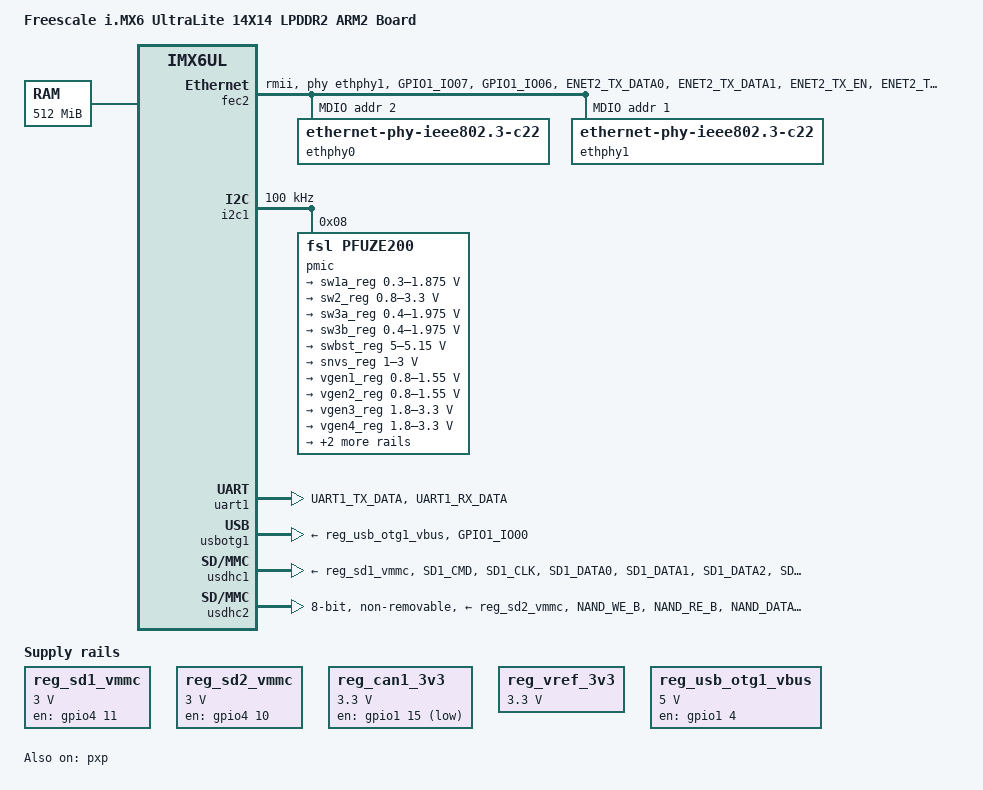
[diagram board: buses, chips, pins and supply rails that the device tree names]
/*
 * Copyright (C) 2015 Freescale Semiconductor, Inc.
 *
 * This program is free software; you can redistribute it and/or modify
 * it under the terms of the GNU General Public License version 2 as
 * published by the Free Software Foundation.
 */

/dts-v1/;

#include <dt-bindings/input/input.h>
#include "imx6ul.dtsi"

/ {
	model = "Freescale i.MX6 UltraLite 14X14 LPDDR2 ARM2 Board";
	compatible = "fsl,imx6ul-14x14-lpddr2-arm2", "fsl,imx6ul";

	chosen {
		stdout-path = &uart1;
	};

	memory {
		reg = <0x80000000 0x20000000>;
	};

	pxp_v4l2 {
		compatible = "fsl,imx6ul-pxp-v4l2", "fsl,imx6sx-pxp-v4l2", "fsl,imx6sl-pxp-v4l2";
		status = "okay";
	};

	regulators {
		compatible = "simple-bus";
		#address-cells = <1>;
		#size-cells = <0>;

		reg_sd1_vmmc: sd1_vmmc {
			compatible = "regulator-fixed";
			regulator-name = "SD1_SPWR";
			regulator-min-microvolt = <3000000>;
			regulator-max-microvolt = <3000000>;
			gpio = <&gpio4 11 GPIO_ACTIVE_HIGH>;
			enable-active-high;
		};

		reg_sd2_vmmc: sd2_vmmc {
			compatible = "regulator-fixed";
			regulator-name = "SD2_SPWR";
			regulator-min-microvolt = <3000000>;
			regulator-max-microvolt = <3000000>;
			gpio = <&gpio4 10 GPIO_ACTIVE_HIGH>;
			enable-active-high;
		};

		reg_can1_3v3: regulator@0 {
			compatible = "regulator-fixed";
			reg = <0>;
			regulator-name = "can1-3v3";
			regulator-min-microvolt = <3300000>;
			regulator-max-microvolt = <3300000>;
			gpio = <&gpio1 15 GPIO_ACTIVE_LOW>;
		};

		reg_vref_3v3: regulator@1 {
			compatible = "regulator-fixed";
			regulator-name = "vref-3v3";
			regulator-min-microvolt = <3300000>;
			regulator-max-microvolt = <3300000>;
		};

		reg_usb_otg1_vbus: regulator@2 {
			compatible = "regulator-fixed";
			reg = <2>;
			pinctrl-names = "default";
			pinctrl-0 = <&pinctrl_usb_otg1>;
			regulator-name = "usb_otg1_vbus";
			regulator-min-microvolt = <5000000>;
			regulator-max-microvolt = <5000000>;
			gpio = <&gpio1 4 GPIO_ACTIVE_HIGH>;
			enable-active-high;
		};
	};
};

&ecspi2 {
	fsl,spi-num-chipselects = <1>;
	cs-gpios = <&gpio4 22 0>;
	pinctrl-names = "default";
	pinctrl-0 = <&pinctrl_ecspi2_1 &pinctrl_ecspi2_cs_1>;
	status = "disabled";

	flash: n25q032@0 {
		#address-cells = <1>;
		#size-cells = <1>;
		compatible = "st,n25q032";
		spi-max-frequency = <20000000>;
		reg = <0>;
	};
};

&cpu0 {
	/*
	 * on i.MX6UL, no seperated VDD_ARM_IN and VDD_SOC_IN,
	 * to align with other platform and use the same cpufreq
	 * driver, still use the seperated OPP define for arm
	 * and soc.
	 */
	operating-points = <
		/* kHz	uV */
		528000	1175000
		396000	1175000
		198000	1175000
	>;
	fsl,soc-operating-points = <
		/* KHz	uV */
		528000	1175000
		396000	1175000
		198000	1175000
	>;
	arm-supply = <&sw1a_reg>;
	soc-supply = <&sw1a_reg>;
	fsl,arm-soc-shared = <1>;
};

&fec1 {
	pinctrl-names = "default";
	pinctrl-0 = <&pinctrl_enet1>;
	phy-mode = "mii";
	phy-handle = <&ethphy0>;
	status = "disabled";
};

&fec2 {
	pinctrl-names = "default";
	pinctrl-0 = <&pinctrl_enet2>;
	phy-mode = "rmii";
	phy-handle = <&ethphy1>;
	status = "okay";

	mdio {
		#address-cells = <1>;
		#size-cells = <0>;

		ethphy0: ethernet-phy@1 {
			compatible = "ethernet-phy-ieee802.3-c22";
			reg = <2>;
		};

		ethphy1: ethernet-phy@2 {
			compatible = "ethernet-phy-ieee802.3-c22";
			reg = <1>;
		};
	};
};

&flexcan1 {
	pinctrl-names = "default";
	pinctrl-0 = <&pinctrl_flexcan1>;
	xceiver-supply = <&reg_can1_3v3>;
	status = "disabled";
};

&gpc {
	fsl,cpu_pupscr_sw2iso = <0x2>;
	fsl,cpu_pupscr_sw = <0x1>;
	fsl,cpu_pdnscr_iso2sw = <0x1>;
	fsl,cpu_pdnscr_iso = <0x1>;
	fsl,wdog-reset = <1>; /* watchdog select of reset source */
	fsl,ldo-bypass = <1>; /* use ldo-bypass, u-boot will check it and configure */
};

&gpmi {
	pinctrl-names = "default";
	pinctrl-0 = <&pinctrl_gpmi_nand_1>;
	status = "disabled";
	nand-on-flash-bbt;
};

&i2c1 {
	clock-frequency = <100000>;
	pinctrl-names = "default";
	pinctrl-0 = <&pinctrl_i2c1>;
	status = "okay";

	pmic: pfuze100@08 {
		compatible = "fsl,pfuze200";
		reg = <0x08>;

		regulators {
			sw1a_reg: sw1ab {
				regulator-min-microvolt = <300000>;
				regulator-max-microvolt = <1875000>;
				regulator-always-on;
				regulator-ramp-delay = <6250>;
			};

			sw2_reg: sw2 {
				regulator-min-microvolt = <800000>;
				regulator-max-microvolt = <3300000>;
				regulator-always-on;
			};

			sw3a_reg: sw3a {
				regulator-min-microvolt = <400000>;
				regulator-max-microvolt = <1975000>;
				regulator-always-on;
			};

			sw3b_reg: sw3b {
				regulator-min-microvolt = <400000>;
				regulator-max-microvolt = <1975000>;
				regulator-always-on;
			};

			swbst_reg: swbst {
				regulator-min-microvolt = <5000000>;
				regulator-max-microvolt = <5150000>;
			};

			snvs_reg: vsnvs {
				regulator-min-microvolt = <1000000>;
				regulator-max-microvolt = <3000000>;
				regulator-always-on;
			};

			vref_reg: vrefddr {
				regulator-always-on;
			};

			vgen1_reg: vgen1 {
				regulator-min-microvolt = <800000>;
				regulator-max-microvolt = <1550000>;
			};

			vgen2_reg: vgen2 {
				regulator-min-microvolt = <800000>;
				regulator-max-microvolt = <1550000>;
			};

			vgen3_reg: vgen3 {
				regulator-min-microvolt = <1800000>;
				regulator-max-microvolt = <3300000>;
			};

			vgen4_reg: vgen4 {
				regulator-min-microvolt = <1800000>;
				regulator-max-microvolt = <3300000>;
				regulator-always-on;
			};

			vgen5_reg: vgen5 {
				regulator-min-microvolt = <1800000>;
				regulator-max-microvolt = <3300000>;
				regulator-always-on;
			};

			vgen6_reg: vgen6 {
				regulator-min-microvolt = <1800000>;
				regulator-max-microvolt = <3300000>;
				regulator-always-on;
			};
		};
	};
};

&pxp {
	status = "okay";
};

&qspi {
	pinctrl-names = "default";
	pinctrl-0 = <&pinctrl_qspi>;
	status = "disabled";
	fsl,qspi-has-second-chip = <1>;
	ddrsmp=<0>;

	flash0: n25q256a@0 {
		#address-cells = <1>;
		#size-cells = <1>;
		compatible = "micron,n25q256a";
		spi-max-frequency = <29000000>;
		spi-nor,ddr-quad-read-dummy = <6>;
		reg = <0>;
	};

	flash1: n25q256a@1 {
		#address-cells = <1>;
		#size-cells = <1>;
		compatible = "micron,n25q256a";
		spi-max-frequency = <29000000>;
		spi-nor,ddr-quad-read-dummy = <6>;
		reg = <1>;
	};

	flash2: n25q256a@2 {
		#address-cells = <1>;
		#size-cells = <1>;
		compatible = "micron,n25q256a";
		spi-max-frequency = <29000000>;
		spi-nor,ddr-quad-read-dummy = <6>;
		reg = <2>;
	};

	flash3: n25q256a@3 {
		#address-cells = <1>;
		#size-cells = <1>;
		compatible = "micron,n25q256a";
		spi-max-frequency = <29000000>;
		spi-nor,ddr-quad-read-dummy = <6>;
		reg = <3>;
	};
};

&uart1 {
	pinctrl-names = "default";
	pinctrl-0 = <&pinctrl_uart1>;
	status = "okay";
};

&usbotg1 {
	vbus-supply = <&reg_usb_otg1_vbus>;
	pinctrl-names = "default";
	pinctrl-0 = <&pinctrl_usb_otg1_id>;
	status = "okay";
};

&usdhc1 {
	pinctrl-names = "default", "state_100mhz", "state_200mhz";
	pinctrl-0 = <&pinctrl_usdhc1>;
	pinctrl-1 = <&pinctrl_usdhc1_100mhz>;
	pinctrl-2 = <&pinctrl_usdhc1_200mhz>;
	cd-gpios = <&gpio4 26 0>;
	wp-gpios = <&gpio4 25 0>;
	keep-power-in-suspend;
	enable-sdio-wakeup;
	vmmc-supply = <&reg_sd1_vmmc>;
	status = "okay";
};

&usdhc2 {
	pinctrl-names = "default", "state_100mhz", "state_200mhz";
	pinctrl-0 = <&pinctrl_usdhc2_8bit>;
	pinctrl-1 = <&pinctrl_usdhc2_8bit_100mhz>;
	pinctrl-2 = <&pinctrl_usdhc2_8bit_200mhz>;
	keep-power-in-suspend;
	vmmc-supply = <&reg_sd2_vmmc>;
	bus-width = <8>;
	non-removable;
	status = "okay";
};

&iomuxc {
	pinctrl-names = "default";
	pinctrl-0 = <&pinctrl_hog &pinctrl_hog_nand>;

	imx6ul-14x14-lpddr2-arm2 {
		pinctrl_hog: hoggrp {
			fsl,pins = <
				MX6UL_PAD_CSI_DATA05__GPIO4_IO26	0x17059	/* SD1 CD */
				MX6UL_PAD_CSI_DATA04__GPIO4_IO25	0x17059	/* SD1 WP */
				MX6UL_PAD_GPIO1_IO05__USDHC1_VSELECT	0x17059	/* SD1 VSELECT */
				MX6UL_PAD_GPIO1_IO08__USDHC2_VSELECT    0x17059 /* SD2 VSELECT */
			>;
		};

		pinctrl_hog_nand: hoggrp_nand {
			fsl,pins = <
				MX6UL_PAD_NAND_WP_B__GPIO4_IO11         0x17059 /* SD1 RESET */
				MX6UL_PAD_NAND_ALE__GPIO4_IO10          0x17059 /* SD2 RESET */
			>;
		};

		pinctrl_ecspi2_cs_1: ecspi2_cs_grp-1 {
			fsl,pins = <
				MX6UL_PAD_CSI_DATA01__GPIO4_IO22  0x10b0
			>;
		};

		pinctrl_ecspi2_1: ecspi2grp-1 {
			fsl,pins = <
				MX6UL_PAD_CSI_DATA02__ECSPI2_MOSI 0x10b0
				MX6UL_PAD_CSI_DATA03__ECSPI2_MISO 0x10b0
				MX6UL_PAD_CSI_DATA00__ECSPI2_SCLK 0x10b0
			>;
		};

		pinctrl_enet1: enet1grp {
			fsl,pins = <
				MX6UL_PAD_ENET1_RX_EN__ENET1_RX_EN	0x1b0b0
				MX6UL_PAD_ENET1_RX_ER__ENET1_RX_ER	0x1b0b0
				MX6UL_PAD_ENET1_RX_DATA0__ENET1_RDATA00	0x1b0b0
				MX6UL_PAD_ENET1_RX_DATA1__ENET1_RDATA01	0x1b0b0
				MX6UL_PAD_UART2_TX_DATA__ENET1_TDATA02	0x1b0b0
				MX6UL_PAD_UART1_RX_DATA__ENET1_RDATA03	0x1b0b0
				MX6UL_PAD_UART1_CTS_B__ENET1_RX_CLK	0x4b01b0a8
				MX6UL_PAD_ENET1_TX_DATA0__ENET1_TDATA00	0x1b0b0
				MX6UL_PAD_ENET1_TX_DATA1__ENET1_TDATA01	0x1b0b0
				MX6UL_PAD_UART2_TX_DATA__ENET1_TDATA02	0x1b0b0
				MX6UL_PAD_UART2_RX_DATA__ENET1_TDATA03	0x1b0b0
				MX6UL_PAD_ENET1_TX_CLK__ENET1_TX_CLK	0x4b01b0a8
				MX6UL_PAD_ENET1_TX_EN__ENET1_TX_EN	0x1b0b0
				MX6UL_PAD_UART2_RTS_B__ENET1_COL	0x1b0b0
				MX6UL_PAD_UART2_CTS_B__ENET1_CRS	0x1b0b0
			>;
		};

		pinctrl_enet2: enet2grp {
			fsl,pins = <
				MX6UL_PAD_GPIO1_IO07__ENET2_MDC		0x1b0b0
				MX6UL_PAD_GPIO1_IO06__ENET2_MDIO	0x1b0b0
				MX6UL_PAD_ENET2_TX_DATA0__ENET2_TDATA00	0x1b0b0
				MX6UL_PAD_ENET2_TX_DATA1__ENET2_TDATA01	0x1b0b0
				MX6UL_PAD_ENET2_TX_EN__ENET2_TX_EN	0x1b0b0
				MX6UL_PAD_ENET2_TX_CLK__ENET2_REF_CLK2	0x4001b0a8
				MX6UL_PAD_ENET2_RX_DATA0__ENET2_RDATA00	0x1b0b0
				MX6UL_PAD_ENET2_RX_DATA1__ENET2_RDATA01	0x1b0b0
				MX6UL_PAD_ENET2_RX_EN__ENET2_RX_EN	0x1b0b0
				MX6UL_PAD_ENET2_RX_ER__ENET2_RX_ER	0x1b0b0
				MX6UL_PAD_UART3_CTS_B__ENET2_RX_CLK	0x4001b0a8
				MX6UL_PAD_UART5_RX_DATA__ENET2_COL	0x1b0b0
				MX6UL_PAD_UART5_TX_DATA__ENET2_CRS	0x1b0b0
			>;
		};

		pinctrl_flexcan1: flexcan1grp{
			fsl,pins = <
				MX6UL_PAD_ENET1_RX_DATA0__FLEXCAN1_TX	0x1b020
				MX6UL_PAD_ENET1_RX_DATA1__FLEXCAN1_RX	0x1b020
				MX6UL_PAD_JTAG_TRST_B__GPIO1_IO15	0x17059	/* STBY */
			>;
		};

		pinctrl_gpmi_nand_1: gpmi-nand-1 {
			fsl,pins = <
				MX6UL_PAD_NAND_CLE__RAWNAND_CLE         0xb0b1
				MX6UL_PAD_NAND_ALE__RAWNAND_ALE         0xb0b1
				MX6UL_PAD_NAND_WP_B__RAWNAND_WP_B       0xb0b1
				MX6UL_PAD_NAND_READY_B__RAWNAND_READY_B 0xb000
				MX6UL_PAD_NAND_CE0_B__RAWNAND_CE0_B     0xb0b1
				MX6UL_PAD_NAND_CE1_B__RAWNAND_CE1_B     0xb0b1
				MX6UL_PAD_NAND_RE_B__RAWNAND_RE_B       0xb0b1
				MX6UL_PAD_NAND_WE_B__RAWNAND_WE_B       0xb0b1
				MX6UL_PAD_NAND_DATA00__RAWNAND_DATA00   0xb0b1
				MX6UL_PAD_NAND_DATA01__RAWNAND_DATA01   0xb0b1
				MX6UL_PAD_NAND_DATA02__RAWNAND_DATA02   0xb0b1
				MX6UL_PAD_NAND_DATA03__RAWNAND_DATA03   0xb0b1
				MX6UL_PAD_NAND_DATA04__RAWNAND_DATA04   0xb0b1
				MX6UL_PAD_NAND_DATA05__RAWNAND_DATA05   0xb0b1
				MX6UL_PAD_NAND_DATA06__RAWNAND_DATA06   0xb0b1
				MX6UL_PAD_NAND_DATA07__RAWNAND_DATA07   0xb0b1
			>;
		};

		pinctrl_i2c2: i2c2grp {
			fsl,pins = <
				MX6UL_PAD_CSI_VSYNC__I2C2_SDA	        0x4001b8b0
				MX6UL_PAD_CSI_HSYNC__I2C2_SCL          	0x4001b8b0
			>;
		};

		pinctrl_lcdif_dat: lcdifdatgrp {
			fsl,pins = <
				MX6UL_PAD_LCD_DATA00__LCDIF_DATA00  0x79
				MX6UL_PAD_LCD_DATA01__LCDIF_DATA01  0x79
				MX6UL_PAD_LCD_DATA02__LCDIF_DATA02  0x79
				MX6UL_PAD_LCD_DATA03__LCDIF_DATA03  0x79
				MX6UL_PAD_LCD_DATA04__LCDIF_DATA04  0x79
				MX6UL_PAD_LCD_DATA05__LCDIF_DATA05  0x79
				MX6UL_PAD_LCD_DATA06__LCDIF_DATA06  0x79
				MX6UL_PAD_LCD_DATA07__LCDIF_DATA07  0x79
				MX6UL_PAD_LCD_DATA08__LCDIF_DATA08  0x79
				MX6UL_PAD_LCD_DATA09__LCDIF_DATA09  0x79
				MX6UL_PAD_LCD_DATA10__LCDIF_DATA10  0x79
				MX6UL_PAD_LCD_DATA11__LCDIF_DATA11  0x79
				MX6UL_PAD_LCD_DATA12__LCDIF_DATA12  0x79
				MX6UL_PAD_LCD_DATA13__LCDIF_DATA13  0x79
				MX6UL_PAD_LCD_DATA14__LCDIF_DATA14  0x79
				MX6UL_PAD_LCD_DATA15__LCDIF_DATA15  0x79
				MX6UL_PAD_LCD_DATA16__LCDIF_DATA16  0x79
				MX6UL_PAD_LCD_DATA17__LCDIF_DATA17  0x79
				MX6UL_PAD_LCD_DATA18__LCDIF_DATA18  0x79
				MX6UL_PAD_LCD_DATA19__LCDIF_DATA19  0x79
				MX6UL_PAD_LCD_DATA20__LCDIF_DATA20  0x79
				MX6UL_PAD_LCD_DATA21__LCDIF_DATA21  0x79
				MX6UL_PAD_LCD_DATA22__LCDIF_DATA22  0x79
				MX6UL_PAD_LCD_DATA23__LCDIF_DATA23  0x79
			>;
		};

		pinctrl_lcdif_ctrl: lcdifctrlgrp {
			fsl,pins = <
				MX6UL_PAD_LCD_CLK__LCDIF_CLK	    0x79
				MX6UL_PAD_LCD_ENABLE__LCDIF_ENABLE  0x79
				MX6UL_PAD_LCD_HSYNC__LCDIF_HSYNC    0x79
				MX6UL_PAD_LCD_VSYNC__LCDIF_VSYNC    0x79
				MX6UL_PAD_LCD_RESET__LCDIF_RESET    0x79
			>;
		};

		pinctrl_pwm1: pmw1grp {
			fsl,pins = <
				MX6UL_PAD_NAND_DQS__PWM5_OUT        0x110b0
			>;
		};

		pinctrl_qspi: qspigrp {
			fsl,pins = <
				MX6UL_PAD_NAND_WP_B__QSPI_A_SCLK      0x70a1
				MX6UL_PAD_NAND_READY_B__QSPI_A_DATA00 0x70a1
				MX6UL_PAD_NAND_CE0_B__QSPI_A_DATA01   0x70a1
				MX6UL_PAD_NAND_CE1_B__QSPI_A_DATA02   0x70a1
				MX6UL_PAD_NAND_CLE__QSPI_A_DATA03     0x70a1
				MX6UL_PAD_NAND_DQS__QSPI_A_SS0_B      0x70a1
				MX6UL_PAD_NAND_DATA07__QSPI_A_SS1_B   0x70a1
				MX6UL_PAD_NAND_RE_B__QSPI_B_SCLK      0x70a1
				MX6UL_PAD_NAND_DATA02__QSPI_B_DATA00  0x70a1
				MX6UL_PAD_NAND_DATA03__QSPI_B_DATA01  0x70a1
				MX6UL_PAD_NAND_DATA04__QSPI_B_DATA02  0x70a1
				MX6UL_PAD_NAND_DATA05__QSPI_B_DATA03  0x70a1
				MX6UL_PAD_NAND_WE_B__QSPI_B_SS0_B     0x70a1
				MX6UL_PAD_NAND_DATA00__QSPI_B_SS1_B   0x70a1
			>;
		};

		pinctrl_mqs: mqsgrp {
			fsl,pins = <
				MX6UL_PAD_GPIO1_IO01__MQS_LEFT         0x11088
				MX6UL_PAD_GPIO1_IO00__MQS_RIGHT        0x11088
			>;
		};

		pinctrl_sai1: sai1grp {
			fsl,pins = <
				MX6UL_PAD_CSI_DATA01__SAI1_MCLK        0x1b0b0
				MX6UL_PAD_CSI_DATA02__SAI1_RX_SYNC     0x1b0b0
				MX6UL_PAD_CSI_DATA03__SAI1_RX_BCLK     0x1b0b0
				MX6UL_PAD_CSI_DATA04__SAI1_TX_SYNC     0x1b0b0
				MX6UL_PAD_CSI_DATA05__SAI1_TX_BCLK     0x1b0b0
				MX6UL_PAD_CSI_DATA06__SAI1_RX_DATA     0x110b0
				MX6UL_PAD_CSI_DATA07__SAI1_TX_DATA     0x1f0b8
				MX6UL_PAD_SNVS_TAMPER0__GPIO5_IO00     0x17059
			>;
		};

		pinctrl_spdif: spdifgrp {
			fsl,pins = <
				MX6UL_PAD_SD1_CMD__SPDIF_OUT           0x1b0b0
				MX6UL_PAD_SD1_CLK__SPDIF_IN            0x1b0b0
			>;
		};

		pinctrl_tsc: tscgrp {
			fsl,pin = <
				MX6UL_PAD_GPIO1_IO01__GPIO1_IO01	0xb0
				MX6UL_PAD_GPIO1_IO02__GPIO1_IO02	0xb0
				MX6UL_PAD_GPIO1_IO03__GPIO1_IO03	0xb0
				MX6UL_PAD_GPIO1_IO04__GPIO1_IO04	0xb0
			>;
		};

		pinctrl_adc1: adc1grp {
			fsl,pin = <
				MX6UL_PAD_GPIO1_IO00__GPIO1_IO00        0xb0
				MX6UL_PAD_GPIO1_IO01__GPIO1_IO01        0xb0
			>;
		};

		pinctrl_i2c1: i2c1grp {
			fsl,pin = <
				MX6UL_PAD_GPIO1_IO03__I2C1_SDA	0x4001b8b1
				MX6UL_PAD_GPIO1_IO02__I2C1_SCL	0x4001b8b1
			>;
		};

		pinctrl_uart1: uart1grp {
			fsl,pins = <
				MX6UL_PAD_UART1_TX_DATA__UART1_DCE_TX 0x1b0b1
				MX6UL_PAD_UART1_RX_DATA__UART1_DCE_RX 0x1b0b1
			>;
		};

		pinctrl_uart2: uart2grp {
			fsl,pins = <
				MX6UL_PAD_UART2_TX_DATA__UART2_DCE_TX 0x1b0b1
				MX6UL_PAD_UART2_RX_DATA__UART2_DCE_RX 0x1b0b1
				MX6UL_PAD_UART2_CTS_B__UART2_DCE_CTS  0x1b0b1
				MX6UL_PAD_UART2_RTS_B__UART2_DCE_RTS  0x1b0b1
			>;
		};

		pinctrl_uart2dte: uart2dtegrp {
			fsl,pins = <
				MX6UL_PAD_UART2_TX_DATA__UART2_DTE_RX 0x1b0b1
				MX6UL_PAD_UART2_RX_DATA__UART2_DTE_TX 0x1b0b1
				MX6UL_PAD_UART2_CTS_B__UART2_DTE_RTS  0x1b0b1
				MX6UL_PAD_UART2_RTS_B__UART2_DTE_CTS  0x1b0b1
			>;
		};

		pinctrl_usb_otg1_id: usbotg1idgrp {
			fsl,pins = <
				MX6UL_PAD_GPIO1_IO00__ANATOP_OTG1_ID	0x17059
			>;
		};

		pinctrl_usb_otg1: usbotg1grp {
			fsl,pins = <
				MX6UL_PAD_GPIO1_IO04__GPIO1_IO04        0x10b0
			>;
		};

		pinctrl_usdhc1: usdhc1grp {
			fsl,pins = <
				MX6UL_PAD_SD1_CMD__USDHC1_CMD     0x17059
				MX6UL_PAD_SD1_CLK__USDHC1_CLK     0x10059
				MX6UL_PAD_SD1_DATA0__USDHC1_DATA0 0x17059
				MX6UL_PAD_SD1_DATA1__USDHC1_DATA1 0x17059
				MX6UL_PAD_SD1_DATA2__USDHC1_DATA2 0x17059
				MX6UL_PAD_SD1_DATA3__USDHC1_DATA3 0x17059
			>;
		};

		pinctrl_usdhc1_100mhz: usdhc1grp100mhz {
			fsl,pins = <
				MX6UL_PAD_SD1_CMD__USDHC1_CMD     0x170b9
				MX6UL_PAD_SD1_CLK__USDHC1_CLK     0x100b9
				MX6UL_PAD_SD1_DATA0__USDHC1_DATA0 0x170b9
				MX6UL_PAD_SD1_DATA1__USDHC1_DATA1 0x170b9
				MX6UL_PAD_SD1_DATA2__USDHC1_DATA2 0x170b9
				MX6UL_PAD_SD1_DATA3__USDHC1_DATA3 0x170b9
			>;
		};

		pinctrl_usdhc1_200mhz: usdhc1grp200mhz {
			fsl,pins = <
				MX6UL_PAD_SD1_CMD__USDHC1_CMD     0x170f9
				MX6UL_PAD_SD1_CLK__USDHC1_CLK     0x100f9
				MX6UL_PAD_SD1_DATA0__USDHC1_DATA0 0x170f9
				MX6UL_PAD_SD1_DATA1__USDHC1_DATA1 0x170f9
				MX6UL_PAD_SD1_DATA2__USDHC1_DATA2 0x170f9
				MX6UL_PAD_SD1_DATA3__USDHC1_DATA3 0x170f9
			>;
		};

		pinctrl_usdhc1_8bit: usdhc1_8bit_grp {
			fsl,pins = <
				MX6UL_PAD_SD1_CMD__USDHC1_CMD     	0x17059
				MX6UL_PAD_SD1_CLK__USDHC1_CLK     	0x10059
				MX6UL_PAD_SD1_DATA0__USDHC1_DATA0 	0x17059
				MX6UL_PAD_SD1_DATA1__USDHC1_DATA1 	0x17059
				MX6UL_PAD_SD1_DATA2__USDHC1_DATA2 	0x17059
				MX6UL_PAD_SD1_DATA3__USDHC1_DATA3 	0x17059
				MX6UL_PAD_NAND_READY_B__USDHC1_DATA4	0x17059
				MX6UL_PAD_NAND_CE0_B__USDHC1_DATA5	0x17059
				MX6UL_PAD_NAND_CE1_B__USDHC1_DATA6	0x17059
				MX6UL_PAD_NAND_CLE__USDHC1_DATA7	0x17059
			>;
		};

		pinctrl_usdhc1_8bit_100mhz: usdhc1_8bit_100mhz_grp {
			fsl,pins = <
				MX6UL_PAD_SD1_CMD__USDHC1_CMD     	0x170b9
				MX6UL_PAD_SD1_CLK__USDHC1_CLK     	0x100b9
				MX6UL_PAD_SD1_DATA0__USDHC1_DATA0 	0x170b9
				MX6UL_PAD_SD1_DATA1__USDHC1_DATA1 	0x170b9
				MX6UL_PAD_SD1_DATA2__USDHC1_DATA2 	0x170b9
				MX6UL_PAD_SD1_DATA3__USDHC1_DATA3 	0x170b9
				MX6UL_PAD_NAND_READY_B__USDHC1_DATA4	0x170b9
				MX6UL_PAD_NAND_CE0_B__USDHC1_DATA5	0x170b9
				MX6UL_PAD_NAND_CE1_B__USDHC1_DATA6	0x170b9
				MX6UL_PAD_NAND_CLE__USDHC1_DATA7	0x170b9
			>;
		};

		pinctrl_usdhc1_8bit_200mhz: usdhc1_8bit_200mhz_grp {
			fsl,pins = <
				MX6UL_PAD_SD1_CMD__USDHC1_CMD     	0x170f9
				MX6UL_PAD_SD1_CLK__USDHC1_CLK     	0x100f9
				MX6UL_PAD_SD1_DATA0__USDHC1_DATA0 	0x170f9
				MX6UL_PAD_SD1_DATA1__USDHC1_DATA1 	0x170f9
				MX6UL_PAD_SD1_DATA2__USDHC1_DATA2 	0x170f9
				MX6UL_PAD_SD1_DATA3__USDHC1_DATA3 	0x170f9
				MX6UL_PAD_NAND_READY_B__USDHC1_DATA4	0x170f9
				MX6UL_PAD_NAND_CE0_B__USDHC1_DATA5	0x170f9
				MX6UL_PAD_NAND_CE1_B__USDHC1_DATA6	0x170f9
				MX6UL_PAD_NAND_CLE__USDHC1_DATA7	0x170f9
			>;
		};

		pinctrl_usdhc2: usdhc2grp {
			fsl,pins = <
				MX6UL_PAD_NAND_WE_B__USDHC2_CMD		0x17059
				MX6UL_PAD_NAND_RE_B__USDHC2_CLK		0x10059
				MX6UL_PAD_NAND_DATA00__USDHC2_DATA0	0x17059
				MX6UL_PAD_NAND_DATA01__USDHC2_DATA1	0x17059
				MX6UL_PAD_NAND_DATA02__USDHC2_DATA2	0x17059
				MX6UL_PAD_NAND_DATA03__USDHC2_DATA3	0x17059
			>;
		};

		pinctrl_usdhc2_100mhz: usdhc2grp100mhz {
			fsl,pins = <
				MX6UL_PAD_NAND_WE_B__USDHC2_CMD		0x170b9
				MX6UL_PAD_NAND_RE_B__USDHC2_CLK		0x100b9
				MX6UL_PAD_NAND_DATA00__USDHC2_DATA0	0x170b9
				MX6UL_PAD_NAND_DATA01__USDHC2_DATA1	0x170b9
				MX6UL_PAD_NAND_DATA02__USDHC2_DATA2	0x170b9
				MX6UL_PAD_NAND_DATA03__USDHC2_DATA3	0x170b9
			>;
		};

		pinctrl_usdhc2_200mhz: usdhc2grp200mhz {
			fsl,pins = <
				MX6UL_PAD_NAND_WE_B__USDHC2_CMD		0x170f9
				MX6UL_PAD_NAND_RE_B__USDHC2_CLK		0x100f9
				MX6UL_PAD_NAND_DATA00__USDHC2_DATA0	0x170f9
				MX6UL_PAD_NAND_DATA01__USDHC2_DATA1	0x170f9
				MX6UL_PAD_NAND_DATA02__USDHC2_DATA2	0x170f9
				MX6UL_PAD_NAND_DATA03__USDHC2_DATA3	0x170f9
			>;
		};

		pinctrl_usdhc2_8bit: usdhc2_8bit_grp {
			fsl,pins = <
				MX6UL_PAD_NAND_WE_B__USDHC2_CMD		0x17059
				MX6UL_PAD_NAND_RE_B__USDHC2_CLK		0x10059
				MX6UL_PAD_NAND_DATA00__USDHC2_DATA0	0x17059
				MX6UL_PAD_NAND_DATA01__USDHC2_DATA1	0x17059
				MX6UL_PAD_NAND_DATA02__USDHC2_DATA2	0x17059
				MX6UL_PAD_NAND_DATA03__USDHC2_DATA3	0x17059
				MX6UL_PAD_NAND_DATA04__USDHC2_DATA4	0x17059
				MX6UL_PAD_NAND_DATA05__USDHC2_DATA5	0x17059
				MX6UL_PAD_NAND_DATA06__USDHC2_DATA6	0x17059
				MX6UL_PAD_NAND_DATA07__USDHC2_DATA7	0x17059
			>;
		};

		pinctrl_usdhc2_8bit_100mhz: usdhc2_8bit_100mhz_grp {
			fsl,pins = <
				MX6UL_PAD_NAND_WE_B__USDHC2_CMD		0x170b9
				MX6UL_PAD_NAND_RE_B__USDHC2_CLK		0x100b9
				MX6UL_PAD_NAND_DATA00__USDHC2_DATA0	0x170b9
				MX6UL_PAD_NAND_DATA01__USDHC2_DATA1	0x170b9
				MX6UL_PAD_NAND_DATA02__USDHC2_DATA2	0x170b9
				MX6UL_PAD_NAND_DATA03__USDHC2_DATA3	0x170b9
				MX6UL_PAD_NAND_DATA04__USDHC2_DATA4	0x170b9
				MX6UL_PAD_NAND_DATA05__USDHC2_DATA5	0x170b9
				MX6UL_PAD_NAND_DATA06__USDHC2_DATA6	0x170b9
				MX6UL_PAD_NAND_DATA07__USDHC2_DATA7	0x170b9
			>;
		};

		pinctrl_usdhc2_8bit_200mhz: usdhc2_8bit_200mhz_grp {
			fsl,pins = <
				MX6UL_PAD_NAND_WE_B__USDHC2_CMD		0x170f9
				MX6UL_PAD_NAND_RE_B__USDHC2_CLK		0x100f9
				MX6UL_PAD_NAND_DATA00__USDHC2_DATA0	0x170f9
				MX6UL_PAD_NAND_DATA01__USDHC2_DATA1	0x170f9
				MX6UL_PAD_NAND_DATA02__USDHC2_DATA2	0x170f9
				MX6UL_PAD_NAND_DATA03__USDHC2_DATA3	0x170f9
				MX6UL_PAD_NAND_DATA04__USDHC2_DATA4	0x170f9
				MX6UL_PAD_NAND_DATA05__USDHC2_DATA5	0x170f9
				MX6UL_PAD_NAND_DATA06__USDHC2_DATA6	0x170f9
				MX6UL_PAD_NAND_DATA07__USDHC2_DATA7	0x170f9
			>;
		};
	};
};
